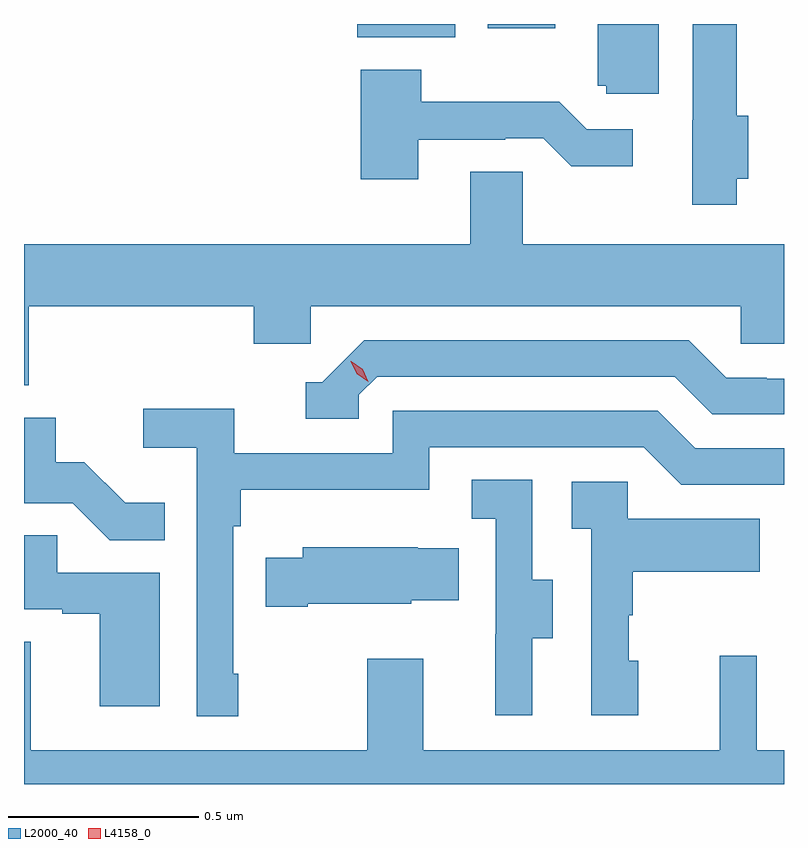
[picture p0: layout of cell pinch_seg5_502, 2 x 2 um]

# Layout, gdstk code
import gdstk
lib = gdstk.Library(unit=1e-6, precision=1e-09)
def R(c, l, rs):  # rectangles x0, y0, x1, y1
    for r in rs: c.add(gdstk.rectangle(r[:2], r[2:], *l))
def P(c, l, *ps):  # polygons
    for p in ps: c.add(gdstk.Polygon(p, *l))
L2000_40 = (2000, 40)
L4158_0 = (4158, 0)

pinch_seg5_502 = lib.new_cell('pinch_seg5_502')
R(pinch_seg5_502, L2000_40, [(897.956,840.152,898.214,840.187), (898.299,840.176,898.477,840.187)])
P(pinch_seg5_502, L2000_40, [(898.955,839.78),(898.985,839.78),(898.985,839.946),(898.955,839.946),(898.955,840.187),(898.839,840.187),(898.839,839.934),(898.838,839.934),(898.838,839.712),(898.955,839.712)],
  [(898.75,840.187),(898.589,840.187),(898.589,840.024),(898.611,840.024),(898.611,840.003),(898.75,840.003)],
  [(898.117,839.883),(898.346,839.883),(898.346,839.886),(898.446,839.886),(898.519,839.813),(898.681,839.813),(898.681,839.91),(898.56,839.91),(898.487,839.983),(898.125,839.983),(898.125,840.067),(897.965,840.067),(897.965,839.778),(898.117,839.778)],
  [(897.092,839.444),(897.683,839.444),(897.683,839.346),(897.834,839.346),(897.834,839.444),(898.965,839.444),(898.965,839.346),(899.079,839.346),(899.079,839.608),(898.392,839.608),(898.392,839.798),(898.253,839.798),(898.253,839.608),(897.079,839.608),(897.079,839.236),(897.092,839.236)],
  [(897.96,839.211),(898.008,839.259),(898.791,839.259),(898.89,839.16),(899.079,839.16),(899.079,839.253),(899.034,839.253),(899.034,839.256),(898.927,839.256),(898.828,839.355),(897.975,839.355),(897.864,839.244),(897.821,839.244),(897.821,839.148),(897.96,839.148)],
  [(897.643,838.477),(897.63,838.477),(897.63,838.865),(897.65,838.865),(897.65,838.961),(898.146,838.961),(898.146,839.073),(898.71,839.073),(898.809,838.974),(899.079,838.974),(899.079,839.07),(898.846,839.07),(898.747,839.169),(898.05,839.169),(898.05,839.058),(897.632,839.058),(897.632,839.174),(897.393,839.174),(897.393,839.072),(897.534,839.072),(897.534,838.365),(897.643,838.365)],
  [(897.449,838.927),(897.345,838.927),(897.238,839.034),(897.162,839.034),(897.162,839.151),(897.079,839.151),(897.079,838.926),(897.207,838.926),(897.305,838.828),(897.449,838.828)],
  [(898.417,838.57),(898.471,838.57),(898.471,838.725),(898.416,838.725),(898.416,838.988),(898.257,838.988),(898.257,838.885),(898.32,838.885),(898.32,838.581),(898.319,838.581),(898.319,838.368),(898.417,838.368)],
  [(898.696,838.512),(898.671,838.512),(898.671,838.631),(898.681,838.631),(898.681,838.745),(899.015,838.745),(899.015,838.885),(898.668,838.885),(898.668,838.983),(898.521,838.983),(898.521,838.859),(898.572,838.859),(898.572,838.368),(898.696,838.368)],
  [(897.436,838.743),(897.167,838.743),(897.167,838.841),(897.079,838.841),(897.079,838.647),(897.179,838.647),(897.179,838.635),(897.278,838.635),(897.278,838.392),(897.436,838.392)],
  [(897.826,838.661),(898.098,838.661),(898.098,838.67),(898.223,838.67),(898.223,838.807),(898.115,838.807),(898.115,838.81),(897.813,838.81),(897.813,838.783),(897.715,838.783),(897.715,838.654),(897.826,838.654)],
  [(899.079,838.276),(899.007,838.276),(899.007,838.525),(898.91,838.525),(898.91,838.276),(898.129,838.276),(898.129,838.516),(897.982,838.516),(897.982,838.276),(897.097,838.276),(897.097,838.562),(897.079,838.562),(897.079,838.187),(899.079,838.187)])
P(pinch_seg5_502, L4158_0, [(897.985,839.246),(897.955,839.266),(897.939,839.3),(897.939,839.3),(897.94,839.3),(897.97,839.279),(897.985,839.246),(897.985,839.246)])

lib.write_gds('pinch_seg5_502.gds')
